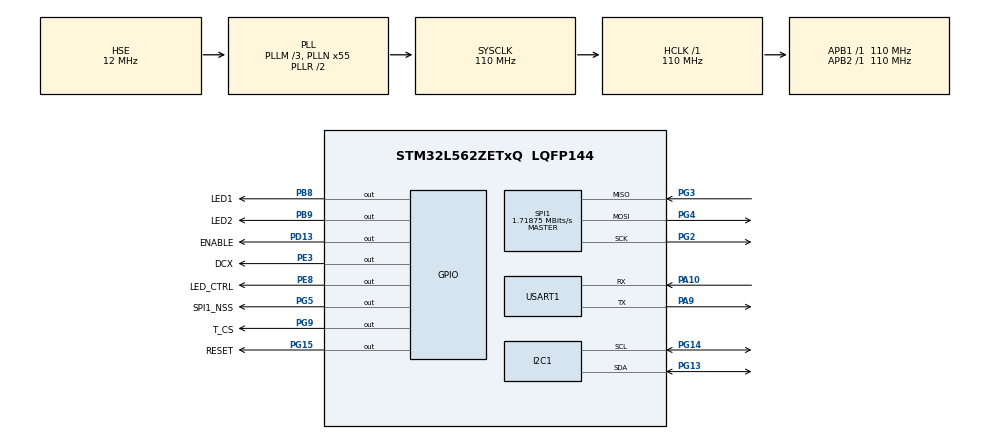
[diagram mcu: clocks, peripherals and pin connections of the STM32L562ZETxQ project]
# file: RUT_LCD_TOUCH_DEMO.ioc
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Dma.Request0=SPI1_TX
Dma.SPI1_TX.0.Channel_PRIV_NPRIV=DMA_CHANNEL_NPRIV_DISABLE
Dma.SPI1_TX.0.Direction=DMA_MEMORY_TO_PERIPH
Dma.SPI1_TX.0.EventEnable=DISABLE
Dma.SPI1_TX.0.Instance=DMA1_Channel1
Dma.SPI1_TX.0.MemDataAlignment=DMA_MDATAALIGN_BYTE
Dma.SPI1_TX.0.MemInc=DMA_MINC_ENABLE
Dma.SPI1_TX.0.Mode=DMA_NORMAL
Dma.SPI1_TX.0.PeriphDataAlignment=DMA_PDATAALIGN_BYTE
Dma.SPI1_TX.0.PeriphInc=DMA_PINC_DISABLE
Dma.SPI1_TX.0.Polarity=HAL_DMAMUX_REQ_GEN_RISING
Dma.SPI1_TX.0.Priority=DMA_PRIORITY_LOW
Dma.SPI1_TX.0.RequestNumber=1
Dma.SPI1_TX.0.SignalID=NONE
Dma.SPI1_TX.0.SyncEnable=DISABLE
Dma.SPI1_TX.0.SyncPolarity=HAL_DMAMUX_SYNC_NO_EVENT
Dma.SPI1_TX.0.SyncRequestNumber=1
Dma.SPI1_TX.0.SyncSignalID=NONE
I2C1.Analog_Filter=I2C_ANALOGFILTER_DISABLE
I2C1.Timing=0x30606DA3
Mcu.Family=STM32L5
Mcu.Name=STM32L562ZETxQ
Mcu.Package=LQFP144
Mcu.TrustZone=disable
NVIC.DMA1_Channel1_IRQn=true\:0\:0\:false\:false\:true\:false\:true
NVIC.I2C1_ER_IRQn=true\:0\:0\:false\:false\:true\:true\:true
NVIC.I2C1_EV_IRQn=true\:0\:0\:false\:true\:true\:1\:true\:true
NVIC.PriorityGroup=NVIC_PRIORITYGROUP_3
PA10.GPIO_PuPd=GPIO_PULLUP
PA10.Mode=Asynchronous
PA10.Signal=USART1_RX
PA9.GPIO_PuPd=GPIO_PULLUP
PA9.Mode=Asynchronous
PA9.Signal=USART1_TX
PB8.GPIO_Label=LED1
PB8.Signal=GPIO_Output
PB9.GPIO_Label=LED2
PB9.Signal=GPIO_Output
PC14-OSC32_IN\ (PC14).Mode=LSE-External-Oscillator
PC14-OSC32_IN\ (PC14).Signal=RCC_OSC32_IN
PC15-OSC32_OUT\ (PC15).Mode=LSE-External-Oscillator
PC15-OSC32_OUT\ (PC15).Signal=RCC_OSC32_OUT
PD13.GPIO_Label=ENABLE
PD13.GPIO_PuPd=GPIO_PULLDOWN
PD13.PinState=GPIO_PIN_RESET
PD13.Signal=GPIO_Output
PE3.GPIO_Label=DCX
PE3.GPIO_PuPd=GPIO_PULLDOWN
PE3.GPIO_Speed=GPIO_SPEED_FREQ_MEDIUM
PE3.Signal=GPIO_Output
PE8.GPIO_Label=LED_CTRL
PE8.GPIO_PuPd=GPIO_PULLUP
PE8.PinState=GPIO_PIN_SET
PE8.Signal=GPIO_Output
PG13.Mode=I2C
PG13.Signal=I2C1_SDA
PG14.Mode=I2C
PG14.Signal=I2C1_SCL
PG15.GPIO_Label=RESET
PG15.GPIO_PuPd=GPIO_PULLUP
PG15.PinState=GPIO_PIN_SET
PG15.Signal=GPIO_Output
PG2.GPIO_PuPd=GPIO_PULLUP
PG2.GPIO_Speed=GPIO_SPEED_FREQ_HIGH
PG2.Mode=Full_Duplex_Master
PG2.Signal=SPI1_SCK
PG3.GPIO_PuPd=GPIO_PULLUP
PG3.GPIO_Speed=GPIO_SPEED_FREQ_HIGH
PG3.Mode=Full_Duplex_Master
PG3.Signal=SPI1_MISO
PG4.GPIO_PuPd=GPIO_PULLUP
PG4.GPIO_Speed=GPIO_SPEED_FREQ_HIGH
PG4.Mode=Full_Duplex_Master
PG4.Signal=SPI1_MOSI
PG5.GPIO_Label=SPI1_NSS
PG5.GPIO_PuPd=GPIO_PULLUP
PG5.GPIO_Speed=GPIO_SPEED_FREQ_HIGH
PG5.PinState=GPIO_PIN_SET
PG5.Signal=GPIO_Output
PG9.GPIO_Label=T_CS
PG9.GPIO_PuPd=GPIO_NOPULL
PG9.Signal=GPIO_Output
PH0-OSC_IN\ (PH0).Mode=HSE-External-Oscillator
PH0-OSC_IN\ (PH0).Signal=RCC_OSC_IN
PH1-OSC_OUT\ (PH1).Mode=HSE-External-Oscillator
PH1-OSC_OUT\ (PH1).Signal=RCC_OSC_OUT
ProjectManager.HeapSize=0x200
ProjectManager.StackSize=0x400
ProjectManager.TargetToolchain=STM32CubeIDE
RCC.AHBFreq_Value=110000000
RCC.APB1Freq_Value=110000000
RCC.APB1TimFreq_Value=110000000
RCC.APB2Freq_Value=110000000
RCC.APB2TimFreq_Value=110000000
RCC.CortexFreq_Value=110000000
RCC.HCLKFreq_Value=110000000
RCC.HSE_VALUE=12000000
RCC.HSI48_VALUE=48000000
RCC.HSI_VALUE=16000000
RCC.MSI_VALUE=4000000
RCC.PLLM=3
RCC.PLLN=55
RCC.PLLSourceVirtual=RCC_PLLSOURCE_HSE
RCC.SYSCLKFreq_VALUE=110000000
RCC.SYSCLKSource=RCC_SYSCLKSOURCE_PLLCLK
RCC.VCOOutputFreq_Value=220000000
SPI1.BaudRatePrescaler=SPI_BAUDRATEPRESCALER_64
SPI1.CalculateBaudRate=1.71875 MBits/s
SPI1.DataSize=SPI_DATASIZE_8BIT
SPI1.Direction=SPI_DIRECTION_2LINES
SPI1.Mode=SPI_MODE_MASTER
SPI1.VirtualType=VM_MASTER
USART1.VirtualMode-Asynchronous=VM_ASYNC
VP_PWR_VS_DBSignals.Mode=DisableDeadBatterySignals
board=custom

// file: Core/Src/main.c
/* USER CODE BEGIN Header */
/**
  ******************************************************************************
  * @file           : main.c
  * @brief          : Main program body
  ******************************************************************************
  * @attention
  *
  * <h2><center>&copy; Copyright (c) 2020 STMicroelectronics.
  * All rights reserved.</center></h2>
  *
  * This software component is licensed by ST under BSD 3-Clause license,
  * the "License"; You may not use this file except in compliance with the
  * License. You may obtain a copy of the License at:
  *                        opensource.org/licenses/BSD-3-Clause
  *
  ******************************************************************************
  */
/* USER CODE END Header */

#include "main.h"

/* USER CODE BEGIN Includes */
#include "gui.h"
#include "ili9341.h"
#include <stdio.h>
#include <string.h>

#include "CY8CMBR3xxx_APIs.h"
#include "CY8CMBR3xxx_Registers.h"
#include "MBR3_Configuration.h"
#include "stm32l5xx_hal_i2c.h"
#include "CY8CMBR3xxx_HostFunctions.c"

#include "0.c"
#include "19.c"
#include "21.c"
#include "25.c"
#include "26.c"
#include "20.c"
#include "22.c"
#include "16.c"
#include "24.c"

/* USER CODE END Includes */

/* USER CODE BEGIN PTD */

/***************************************
* Project Constants
***************************************/
#define SLAVE_ADDRESS                   0x37
#define LED_ON                          0x00
#define LED_OFF                         0x01
#define GPO_OUTPUT_GPO0_MASK            0x01
#define GPO_LOW                         0x00
#define PROXIMITY_DETECT                0x01
#define PROXIMITY_TOUCH                 0x01
#define BUTTON_TOUCH                    0x78
#define GPO_OUTPUT_STATE_OFFSET         0x01
#define GPO_OUTPUT_STATE_WRITE_LENGTH   0x02
#define GPO_OUTPUT_STATE_READ_LENGTH    0x01
#define GPO_CFG_HOST_CONTROL_EN         0xFF
#define GPO_OUTPUT_STATE_ALL_OFF        0xFF
#define GPO_CFG_WRITE_LENGTH            0x02

/* USER CODE END PTD */

/* USER CODE BEGIN PD */

	     CY8CMBR3xxx_SENSORSTATUS sensorStatus;
	     uint8 prevProximityStatus = 0x00;
	     uint8 writeGPOOutputState[2] = {CY8CMBR3xxx_GPO_OUTPUT_STATE, 0x00};
	     uint8 writeGPOConfig[2] = {CY8CMBR3xxx_GPO_CFG, GPO_CFG_HOST_CONTROL_EN};

	     uint16 buttonData = 0x00;

/* USER CODE END PD */

I2C_HandleTypeDef hi2c1;

SPI_HandleTypeDef hspi1;
DMA_HandleTypeDef hdma_spi1_tx;

UART_HandleTypeDef huart1;

/* USER CODE BEGIN PV */

char buff[64] = {0};

/* USER CODE END PV */

void SystemClock_Config(void);
static void MX_GPIO_Init(void);
static void MX_DMA_Init(void);
static void MX_SPI1_Init(void);
static void MX_USART1_UART_Init(void);
static void MX_I2C1_Init(void);
static void MX_NVIC_Init(void);
/* USER CODE BEGIN PFP */
void I2c_scanner(void);
void I2c_ALL_scanner(void);
void LCD_DRAW_image(void);
void SENSOR_Poll(void);
void MBR_configuration_init (void);
void Button_read (void);
void Show_color(uint16_t cl);

/***************************************
* Delay Constants
***************************************/
#define PROX_LED_BLINK_DELAY            (50)
#define MBR3_BOOT_DELAY                 (1000)

/* USER CODE END PFP */

int main(void)
{
  /* USER CODE BEGIN 1 */
	//  HAL_StatusTypeDef status;

	  /* Variables and structure declarations */

  /* USER CODE END 1 */

  /* MCU Configuration--------------------------------------------------------*/

  /* Reset of all peripherals, Initializes the Flash interface and the Systick. */
  HAL_Init();

  /* USER CODE BEGIN Init */

  HAL_PWREx_EnableVddIO2();

  /* USER CODE END Init */

  /* Configure the system clock */
  SystemClock_Config();

  /* Initialize all configured peripherals */
  MX_GPIO_Init();
  MX_DMA_Init();
  MX_SPI1_Init();
  MX_USART1_UART_Init();
  MX_I2C1_Init();

  /* Initialize interrupts */
  MX_NVIC_Init();
  /* USER CODE BEGIN 2 */

  /* Wait a second for the MBR3 device to bootup */
  HAL_Delay(MBR3_BOOT_DELAY);

  memset(buff, 0x00, sizeof(buff));
  sprintf(buff, "\r\nLCD Display Touch demo Application Started\r\n");
  HAL_UART_Transmit(&huart1, (uint8_t*)buff, strlen(buff), HAL_MAX_DELAY);

	ILI9341_Init();
	HAL_Delay(100);

//	GUI_FillScreen(BLACK); //Blue
//	HAL_Delay(10);
//	GUI_UpdateScreen();

  /* Main loop execution begins */

  /* USER CODE END 2 */

  /* Infinite loop */
  /* USER CODE BEGIN WHILE */

  	  while(1)
 	  {
		// I2c_scanner();
  		//I2c_ALL_scanner();
		// LCD_DRAW_image();
		 //MBR_configuration_init; //send MBR3 EZclick config file

		 //SENSOR_Poll();
		 Button_read();
//		 if (buttonData ==0x1|0x2|0x4|0x8)
//		 {
//	          HAL_GPIO_WritePin(LED2_GPIO_Port, LED2_Pin, GPIO_PIN_RESET);  // turn On LED2
//	          HAL_Delay(500);
//	          HAL_GPIO_WritePin(LED2_GPIO_Port, LED2_Pin, GPIO_PIN_SET); // turn Off LED2
//	          HAL_Delay(500);
//
//		 }

		// uint8 a=buttonData;

 		 if (buttonData == 0x01)
				{
					//GUI_FillScreen(RED);
 			 	 	Show_color(RED);
					HAL_Delay(10);
					GUI_UpdateScreen();
				}
		 if (buttonData == 0x02)
				{
					//GUI_FillScreen(GREEN);
			 	 	Show_color(GREEN);
					HAL_Delay(10);
					GUI_UpdateScreen();
				}
		 if (buttonData == 0x04)
				{
					GUI_FillScreen(BLACK);
					HAL_Delay(10);
					GUI_UpdateScreen();
				}
		 if (buttonData == 0x08)
				{
					GUI_FillScreen(MAGENTA);
					HAL_Delay(10);
					GUI_UpdateScreen();
				}
		 if (buttonData == 0x10)
				{
					GUI_FillScreen(WHITE);
					HAL_Delay(10);
					GUI_UpdateScreen();
				}

//		GUI_FillScreen(0x7C0); //Blue
//		HAL_Delay(10);
//		GUI_UpdateScreen();

 	  }

    /* USER CODE END WHILE */

}

void SystemClock_Config(void)
{
  RCC_OscInitTypeDef RCC_OscInitStruct = {0};
  RCC_ClkInitTypeDef RCC_ClkInitStruct = {0};

  /** Configure the main internal regulator output voltage
  */
  if (HAL_PWREx_ControlVoltageScaling(PWR_REGULATOR_VOLTAGE_SCALE0) != HAL_OK)
  {
    Error_Handler();
  }
  /** Initializes the CPU, AHB and APB busses clocks
  */
  RCC_OscInitStruct.OscillatorType = RCC_OSCILLATORTYPE_HSE;
  RCC_OscInitStruct.HSEState = RCC_HSE_ON;
  RCC_OscInitStruct.PLL.PLLState = RCC_PLL_ON;
  RCC_OscInitStruct.PLL.PLLSource = RCC_PLLSOURCE_HSE;
  RCC_OscInitStruct.PLL.PLLM = 3;
  RCC_OscInitStruct.PLL.PLLN = 55;
  RCC_OscInitStruct.PLL.PLLP = RCC_PLLP_DIV7;
  RCC_OscInitStruct.PLL.PLLQ = RCC_PLLQ_DIV2;
  RCC_OscInitStruct.PLL.PLLR = RCC_PLLR_DIV2;
  if (HAL_RCC_OscConfig(&RCC_OscInitStruct) != HAL_OK)
  {
    Error_Handler();
  }
  /** Initializes the CPU, AHB and APB busses clocks
  */
  RCC_ClkInitStruct.ClockType = RCC_CLOCKTYPE_HCLK|RCC_CLOCKTYPE_SYSCLK
                              |RCC_CLOCKTYPE_PCLK1|RCC_CLOCKTYPE_PCLK2;
  RCC_ClkInitStruct.SYSCLKSource = RCC_SYSCLKSOURCE_PLLCLK;
  RCC_ClkInitStruct.AHBCLKDivider = RCC_SYSCLK_DIV1;
  RCC_ClkInitStruct.APB1CLKDivider = RCC_HCLK_DIV1;
  RCC_ClkInitStruct.APB2CLKDivider = RCC_HCLK_DIV1;

  if (HAL_RCC_ClockConfig(&RCC_ClkInitStruct, FLASH_LATENCY_5) != HAL_OK)
  {
    Error_Handler();
  }
}

/**
  * @brief NVIC Configuration.
  * @retval None
  */
static void MX_NVIC_Init(void)
{
  /* I2C1_EV_IRQn interrupt configuration */
  HAL_NVIC_SetPriority(I2C1_EV_IRQn, 0, 0);
  HAL_NVIC_EnableIRQ(I2C1_EV_IRQn);
}

static void MX_I2C1_Init(void)
{

  hi2c1.Instance = I2C1;
  hi2c1.Init.Timing = 0x30606DA3;
  hi2c1.Init.OwnAddress1 = 0;
  hi2c1.Init.AddressingMode = I2C_ADDRESSINGMODE_7BIT;
  hi2c1.Init.DualAddressMode = I2C_DUALADDRESS_DISABLE;
  hi2c1.Init.OwnAddress2 = 0;
  hi2c1.Init.OwnAddress2Masks = I2C_OA2_NOMASK;
  hi2c1.Init.GeneralCallMode = I2C_GENERALCALL_DISABLE;
  hi2c1.Init.NoStretchMode = I2C_NOSTRETCH_DISABLE;
  if (HAL_I2C_Init(&hi2c1) != HAL_OK)
  {
    Error_Handler();
  }
  /** Configure Analogue filter
  */
  if (HAL_I2CEx_ConfigAnalogFilter(&hi2c1, I2C_ANALOGFILTER_DISABLE) != HAL_OK)
  {
    Error_Handler();
  }
  /** Configure Digital filter
  */
  if (HAL_I2CEx_ConfigDigitalFilter(&hi2c1, 0) != HAL_OK)
  {
    Error_Handler();
  }

}

static void MX_SPI1_Init(void)
{

  /* SPI1 parameter configuration*/
  hspi1.Instance = SPI1;
  hspi1.Init.Mode = SPI_MODE_MASTER;
  hspi1.Init.Direction = SPI_DIRECTION_2LINES;
  hspi1.Init.DataSize = SPI_DATASIZE_8BIT;
  hspi1.Init.CLKPolarity = SPI_POLARITY_LOW;
  hspi1.Init.CLKPhase = SPI_PHASE_1EDGE;
  hspi1.Init.NSS = SPI_NSS_SOFT;
  hspi1.Init.BaudRatePrescaler = SPI_BAUDRATEPRESCALER_64;
  hspi1.Init.FirstBit = SPI_FIRSTBIT_MSB;
  hspi1.Init.TIMode = SPI_TIMODE_DISABLE;
  hspi1.Init.CRCCalculation = SPI_CRCCALCULATION_DISABLE;
  hspi1.Init.CRCPolynomial = 7;
  hspi1.Init.CRCLength = SPI_CRC_LENGTH_DATASIZE;
  hspi1.Init.NSSPMode = SPI_NSS_PULSE_ENABLE;
  if (HAL_SPI_Init(&hspi1) != HAL_OK)
  {
    Error_Handler();
  }

}

static void MX_USART1_UART_Init(void)
{

  huart1.Instance = USART1;
  huart1.Init.BaudRate = 115200;
  huart1.Init.WordLength = UART_WORDLENGTH_8B;
  huart1.Init.StopBits = UART_STOPBITS_1;
  huart1.Init.Parity = UART_PARITY_NONE;
  huart1.Init.Mode = UART_MODE_TX_RX;
  huart1.Init.HwFlowCtl = UART_HWCONTROL_NONE;
  huart1.Init.OverSampling = UART_OVERSAMPLING_16;
  huart1.Init.OneBitSampling = UART_ONE_BIT_SAMPLE_DISABLE;
  huart1.Init.ClockPrescaler = UART_PRESCALER_DIV1;
  huart1.AdvancedInit.AdvFeatureInit = UART_ADVFEATURE_NO_INIT;
  if (HAL_UART_Init(&huart1) != HAL_OK)
  {
    Error_Handler();
  }
  if (HAL_UARTEx_SetTxFifoThreshold(&huart1, UART_TXFIFO_THRESHOLD_1_8) != HAL_OK)
  {
    Error_Handler();
  }
  if (HAL_UARTEx_SetRxFifoThreshold(&huart1, UART_RXFIFO_THRESHOLD_1_8) != HAL_OK)
  {
    Error_Handler();
  }
  if (HAL_UARTEx_DisableFifoMode(&huart1) != HAL_OK)
  {
    Error_Handler();
  }

}

static void MX_DMA_Init(void)
{

  /* DMA controller clock enable */
  __HAL_RCC_DMAMUX1_CLK_ENABLE();
  __HAL_RCC_DMA1_CLK_ENABLE();

  /* DMA interrupt init */
  /* DMA1_Channel1_IRQn interrupt configuration */
  HAL_NVIC_SetPriority(DMA1_Channel1_IRQn, 0, 0);
  HAL_NVIC_EnableIRQ(DMA1_Channel1_IRQn);

}

static void MX_GPIO_Init(void)
{
  GPIO_InitTypeDef GPIO_InitStruct = {0};

  /* GPIO Ports Clock Enable */
  __HAL_RCC_GPIOE_CLK_ENABLE();
  __HAL_RCC_GPIOC_CLK_ENABLE();
  __HAL_RCC_GPIOH_CLK_ENABLE();
  __HAL_RCC_GPIOD_CLK_ENABLE();
  __HAL_RCC_GPIOG_CLK_ENABLE();
  HAL_PWREx_EnableVddIO2();
  __HAL_RCC_GPIOA_CLK_ENABLE();
  __HAL_RCC_GPIOB_CLK_ENABLE();

  /*Configure GPIO pin Output Level */
  HAL_GPIO_WritePin(DCX_GPIO_Port, DCX_Pin, GPIO_PIN_RESET);

  /*Configure GPIO pin Output Level */
  HAL_GPIO_WritePin(LED_CTRL_GPIO_Port, LED_CTRL_Pin, GPIO_PIN_SET);

  /*Configure GPIO pin Output Level */
  HAL_GPIO_WritePin(ENABLE_GPIO_Port, ENABLE_Pin, GPIO_PIN_RESET);

  /*Configure GPIO pin Output Level */
  HAL_GPIO_WritePin(GPIOG, SPI1_NSS_Pin|RESET_Pin, GPIO_PIN_SET);

  /*Configure GPIO pin Output Level */
  HAL_GPIO_WritePin(T_CS_GPIO_Port, T_CS_Pin, GPIO_PIN_RESET);

  /*Configure GPIO pin Output Level */
  HAL_GPIO_WritePin(GPIOB, LED1_Pin|LED2_Pin, GPIO_PIN_RESET);

  /*Configure GPIO pin : DCX_Pin */
  GPIO_InitStruct.Pin = DCX_Pin;
  GPIO_InitStruct.Mode = GPIO_MODE_OUTPUT_PP;
  GPIO_InitStruct.Pull = GPIO_PULLDOWN;
  GPIO_InitStruct.Speed = GPIO_SPEED_FREQ_MEDIUM;
  HAL_GPIO_Init(DCX_GPIO_Port, &GPIO_InitStruct);

  /*Configure GPIO pin : LED_CTRL_Pin */
  GPIO_InitStruct.Pin = LED_CTRL_Pin;
  GPIO_InitStruct.Mode = GPIO_MODE_OUTPUT_PP;
  GPIO_InitStruct.Pull = GPIO_PULLUP;
  GPIO_InitStruct.Speed = GPIO_SPEED_FREQ_LOW;
  HAL_GPIO_Init(LED_CTRL_GPIO_Port, &GPIO_InitStruct);

  /*Configure GPIO pin : ENABLE_Pin */
  GPIO_InitStruct.Pin = ENABLE_Pin;
  GPIO_InitStruct.Mode = GPIO_MODE_OUTPUT_PP;
  GPIO_InitStruct.Pull = GPIO_PULLDOWN;
  GPIO_InitStruct.Speed = GPIO_SPEED_FREQ_LOW;
  HAL_GPIO_Init(ENABLE_GPIO_Port, &GPIO_InitStruct);

  /*Configure GPIO pin : SPI1_NSS_Pin */
  GPIO_InitStruct.Pin = SPI1_NSS_Pin;
  GPIO_InitStruct.Mode = GPIO_MODE_OUTPUT_PP;
  GPIO_InitStruct.Pull = GPIO_PULLUP;
  GPIO_InitStruct.Speed = GPIO_SPEED_FREQ_HIGH;
  HAL_GPIO_Init(SPI1_NSS_GPIO_Port, &GPIO_InitStruct);

  /*Configure GPIO pin : T_CS_Pin */
  GPIO_InitStruct.Pin = T_CS_Pin;
  GPIO_InitStruct.Mode = GPIO_MODE_OUTPUT_PP;
  GPIO_InitStruct.Pull = GPIO_NOPULL;
  GPIO_InitStruct.Speed = GPIO_SPEED_FREQ_LOW;
  HAL_GPIO_Init(T_CS_GPIO_Port, &GPIO_InitStruct);

  /*Configure GPIO pin : RESET_Pin */
  GPIO_InitStruct.Pin = RESET_Pin;
  GPIO_InitStruct.Mode = GPIO_MODE_OUTPUT_PP;
  GPIO_InitStruct.Pull = GPIO_PULLUP;
  GPIO_InitStruct.Speed = GPIO_SPEED_FREQ_LOW;
  HAL_GPIO_Init(RESET_GPIO_Port, &GPIO_InitStruct);

  /*Configure GPIO pins : LED1_Pin LED2_Pin */
  GPIO_InitStruct.Pin = LED1_Pin|LED2_Pin;
  GPIO_InitStruct.Mode = GPIO_MODE_OUTPUT_PP;
  GPIO_InitStruct.Pull = GPIO_NOPULL;
  GPIO_InitStruct.Speed = GPIO_SPEED_FREQ_LOW;
  HAL_GPIO_Init(GPIOB, &GPIO_InitStruct);

}

/* USER CODE BEGIN 4 */

/*******************************************************************************
* Function Name: Button_read
********************************************************************************
*
* Summary:
*  This function reads button status.
*/

void Show_color(uint16_t cl)
{
	//TURN OFF DISPLAY
	LCD_WR_REG(0x28);
	//LCD_WR_DATA(0x2C);

		GUI_FillScreen(cl);
		HAL_Delay(10);
		GUI_UpdateScreen();

		//TURN ON DISPLAY
		LCD_WR_REG(0x29);
		//LCD_WR_DATA(0x2C);

}

void Button_read(void)
{
		if (TRUE == CY8CMBR3xxx_ReadDualByte(SLAVE_ADDRESS, CY8CMBR3xxx_BUTTON_STAT,  &buttonData))
			{
				/* Indicate a success using GREEN LED */
			  memset(buff, 0x00, sizeof(buff));
			  uint8 i= buttonData;
			  sprintf(buff, "button press stat: 0x%X\r\n", i);
			  HAL_UART_Transmit(&huart1, (uint8_t*)buff, strlen(buff), HAL_MAX_DELAY);
			}
}

void MBR_configuration_init (void)
{
	/* Configure the MBR3 device with configuration data from EzClick */
	if (TRUE == CY8CMBR3xxx_Configure(SLAVE_ADDRESS, &CY8CMBR3110_configuration[0]))
		{
			/* Indicate a success using GREEN LED */
		  memset(buff, 0x00, sizeof(buff));
		  sprintf(buff, "CY8CMBR3xxx is configured\r\n");
		  HAL_UART_Transmit(&huart1, (uint8_t*)buff, strlen(buff), HAL_MAX_DELAY);

			/* Make Prox LED Host Controlled */
			CY8CMBR3xxx_WriteData(SLAVE_ADDRESS, writeGPOConfig, GPO_CFG_WRITE_LENGTH);
			sprintf(buff, "Make Prox LED Host Controlled\r\n");
			HAL_UART_Transmit(&huart1, (uint8_t*)buff, strlen(buff), HAL_MAX_DELAY);
		}
	else
	{
		/* Indicate a failure using RED LED */
		sprintf(buff, "MBR3 was not configured properly\r\n");
		HAL_UART_Transmit(&huart1, (uint8_t*)buff, strlen(buff), HAL_MAX_DELAY);
		/* Do nothing. MBR3 was not configured properly */
		while(1);
	}
}

void SENSOR_Poll(void)
{
    if (TRUE == CY8CMBR3xxx_ReadSensorStatus(SLAVE_ADDRESS, &sensorStatus))
    {
        /* Proceed if the Proximity Status changed for PS0 */

            sprintf(buff, "SENSSOR DATA READ\r\n");
            HAL_UART_Transmit(&huart1, (uint8_t*)buff, strlen(buff), HAL_MAX_DELAY);
            /* Proceed if a Proximity Touch event or a Button Touch event was detected */
            /* Make corresponding LED on GPO glow as long as a touch is detected */
            /* and turn that LED off when the finger is lifted */
          //  writeGPOOutputState[GPO_OUTPUT_STATE_OFFSET] = ~sensorStatus.buttonStatus;
         //   CY8CMBR3xxx_WriteData(SLAVE_ADDRESS, writeGPOOutputState, GPO_OUTPUT_STATE_WRITE_LENGTH);
            HAL_Delay(50);

    }
    else
    {
        /* Indicate a failure using RED LED */

        sprintf(buff, "I2C communication error happened while reading status\r\n");
        HAL_UART_Transmit(&huart1, (uint8_t*)buff, strlen(buff), HAL_MAX_DELAY);

        /* Do nothing. I2C communication error happened while reading status */
        while(1);
    }
}

void LCD_DRAW_image(void)
{
HAL_Delay(1000);
uint32_t 	image_data_logo = 0;
		// HAL_SPI_Transmit_DMA supports the translation size until 0xffff
		// So, I need to separate bitmap
		for (uint32_t y = 0; y <  GUI_HEIGHT; y += 80)
		{
			ILI9341_SetWindow(0, y, GUI_WIDTH-1, y+80-1);
			//Done = 0;
			ILI9341_DrawBitmap(GUI_WIDTH, 80, &image_data_22[image_data_logo]);
			image_data_logo += 80*GUI_WIDTH*2;
			//while (Done == 0)
			HAL_Delay(250);
		}
	HAL_Delay(2000);
}
void I2c_ALL_scanner(void)
{

for(uint8_t i = 0x0; i < 0xFF; i++)
	    {
		sprintf(buff, "Scan address.. 0x%X\r\n", i);
		HAL_UART_Transmit(&huart1, (uint8_t*)buff, strlen(buff), HAL_MAX_DELAY);
	      if(HAL_I2C_IsDeviceReady(&hi2c1, (uint16_t)(i<<1), 10, 2)!= HAL_OK)
	      {
	        /*Toggle User LED1*/
	        HAL_GPIO_TogglePin(LED1_GPIO_Port, LED1_Pin);
	        /*Device found!*/
	          memset(buff, 0x00, sizeof(buff));
	      //    sprintf(buff, "Touch controller not detected!!!! 0x%X\r\n");
	          HAL_UART_Transmit(&huart1, (uint8_t*)buff, strlen(buff), HAL_MAX_DELAY);
	      }
	      else
	      {
	        /*Device found!*/
	          memset(buff, 0x00, sizeof(buff));
	          sprintf(buff, "Address found: 0x%X\r\n", i);
	          HAL_UART_Transmit(&huart1, (uint8_t*)buff, strlen(buff), HAL_MAX_DELAY);
	          HAL_GPIO_WritePin(LED1_GPIO_Port, LED1_Pin, GPIO_PIN_SET);
	        for(uint8_t j = 0; j < 5; j++)
	        {
	          HAL_GPIO_WritePin(LED2_GPIO_Port, LED2_Pin, GPIO_PIN_RESET);
	          HAL_Delay(50);
	          HAL_GPIO_WritePin(LED2_GPIO_Port, LED2_Pin, GPIO_PIN_SET);
	          HAL_Delay(50);
	        }
	      }
	      HAL_Delay(100);
	    }
}

void I2c_scanner(void)
{
    sprintf(buff, "Scanning I2C BUS...\r\n");
    HAL_UART_Transmit(&huart1, (uint8_t*)buff, strlen(buff), HAL_MAX_DELAY);
    uint8 stat=1;
	while (stat)
	{
	stat=0;
		uint16 i=0x37;
	  stat=HAL_I2C_IsDeviceReady(&hi2c1, i<<1, 10, 1000);
	  HAL_Delay(10);
	  if( stat ==HAL_OK )
		  {
		  memset(buff, 0x00, sizeof(buff));
		  sprintf(buff, "Address found: 0x%X\r\n", i);
		  HAL_UART_Transmit(&huart1, (uint8_t*)buff, strlen(buff), HAL_MAX_DELAY);
		  HAL_GPIO_WritePin(LED1_GPIO_Port, LED1_Pin, GPIO_PIN_SET);
		  HAL_Delay(500);
		  }
	}
}

/*******************************************************************************
* Function Name: Host_LowLevelWrite
********************************************************************************
*
* Summary:
*  This API writes to the register map of the CY8CMBR3xxx device using the I2C
*  communication protocol. The implementation is host processor dependent and
*  you may need to update the API code to suit your host.
*
* Parameters:
*  uint8 slaveAddress:
*   The I2C address of the CY8CMBR3xxx device. Valid range: 8 - 119
*
*  uint8 *writeBuffer:
*   The buffer from which data is written to the device.
*
*   The first element should always contain the location of the register
*   of the device to write to. This value can be within 0 – 251.
*
*   Each successive element should contain the data to be written to that
*   register and the successive registers. These elements can have a value
*   between 0 – 255. The number of data bytes can be between 0 and 128.
*
*  uint8 numberOfBytes:
*   Number of bytes to be written, equal to the number of elements in the
*   buffer (i.e. number of data bytes + 1)
*
* Pre:
*  The I2C interface should be enabled and working before this Low Level
*  API can be called. Also make sure that the Global Interrupts are also
*  enabled (if required)
*
* Post:
*  N/A
*
* Return:
*  status
*    Value                Description
*    TRUE                 Write process was successful
*    FALSE                Write process was not successful
*
*******************************************************************************/
bool Host_LowLevelWrite(uint8 slaveAddress, uint8 *writeBuffer, uint8 numberOfBytes)
{
    bool status = FALSE;                                       /* Default return is FALSE if anything goes wrong */
   // uint32 localBufStatus = 0;             /* Error status variable */
    uint8 retryCount = CY8CMBR3xxx_RETRY_TIMES;                /* Retry count, in case of any issue */
   // if(HAL_I2C_IsDeviceReady(&hi2c1, slaveAddress<<1, 10, 1000)==HAL_OK)

    	while (HAL_I2C_Master_Transmit(&hi2c1, slaveAddress<<1, writeBuffer, numberOfBytes, 10000) != HAL_OK)
    	{
    		if (HAL_I2C_GetError(&hi2c1) != HAL_I2C_ERROR_AF)
    		    {
    		      Error_Handler();
    		    }
    	}

   // HAL_I2C_IsDeviceReady(&hi2c1, (uint16_t)(i<<1), 2, 2)
    status = (retryCount)? TRUE: FALSE;
    return status;

}

/*******************************************************************************
* Function Name: Host_LowLevelRead
********************************************************************************
*
* Summary:
*  This API reads from the register map of the CY8CMBR3xxx device using the
*  I2C communication protocol. The implementation is host processor dependent
*  and you may need to update the API code to suit your host.
*
* Parameters:
*  uint8 slaveAddress:
*   The I2C address of the CY8CMBR3xxx device. Valid range: 8 - 119
*
*  uint8 *readBuffer:
*   The buffer to be updated with the data read from the device.
*
*   The register location to read from should be set prior to calling
*   this API. Each successive element to contain the data read from that
*   register and the successive registers. These elements can have a value
*   between 0 – 255.
*
*  uint8 numberOfBytes:
*   Number of data bytes to be read, equal to the number of elements in
*   the buffer. Valid range: 1 – 252
*
* Pre:
*  The I2C interface should be enabled and working before this Low Level
*  API can be called. Also make sure that the Global Interrupts are also
*  enabled (if required)
*
* Post:
*  N/A
*
* Return:
*  status
*    Value                Description
*    TRUE                 Read process was successful
*    FALSE                Read process was not successful
*
*******************************************************************************/
bool Host_LowLevelRead(uint8 slaveAddress, uint8 *readBuffer, uint8 numberOfBytes)
{
    bool status = FALSE;                                       /* Default return is FALSE if anything goes wrong */
 //   uint32 localBufStatus = HAL_OK;             /* Error status variable */
    uint8 retryCount = CY8CMBR3xxx_RETRY_TIMES;                /* Retry count, in case of any issue */
   // localBufStatus = SCB_I2CMasterWriteBuf(slaveAddress, writeBuffer, numberOfBytes, SCB_I2C_MODE_COMPLETE_XFER);
  //  if(HAL_I2C_IsDeviceReady(&hi2c1, slaveAddress<<1, 10, 1000)==HAL_OK)
//    {
//    HAL_I2C_Master_Receive(&hi2c1, slaveAddress<<1, writeBuffer, numberOfBytes, 10000);
	while (HAL_I2C_Master_Receive(&hi2c1, slaveAddress<<1, readBuffer, numberOfBytes, 10000) != HAL_OK)
		if (HAL_I2C_GetError(&hi2c1) != HAL_I2C_ERROR_AF)
			{
			  Error_Handler();
			}

//    }
   // HAL_I2C_IsDeviceReady(&hi2c1, (uint16_t)(i<<1), 2, 2)

    /* Check whether the transaction was successful or it timed-out */
    status = (retryCount)? TRUE: FALSE;

    return status;
}

void Host_LowLevelDelay(uint16 milliseconds)
{
	HAL_Delay((uint32) milliseconds);
}
/* USER CODE END 4 */

void Error_Handler(void)
{
  /* USER CODE BEGIN Error_Handler_Debug */
	  /* USER CODE BEGIN Error_Handler_Debug */
	  HAL_GPIO_WritePin(LED1_GPIO_Port, LED1_Pin, GPIO_PIN_RESET);
	  HAL_GPIO_WritePin(LED2_GPIO_Port, LED2_Pin, GPIO_PIN_RESET);
	  while(1)
	  {
	    HAL_GPIO_TogglePin(LED1_GPIO_Port, LED1_Pin);
	    HAL_GPIO_TogglePin(LED2_GPIO_Port, LED2_Pin);
	    HAL_Delay(100);
	  }

  /* User can add his own implementation to report the HAL error return state */
  /* USER CODE END Error_Handler_Debug */
}

/************************ (C) COPYRIGHT STMicroelectronics *****END OF FILE****/
